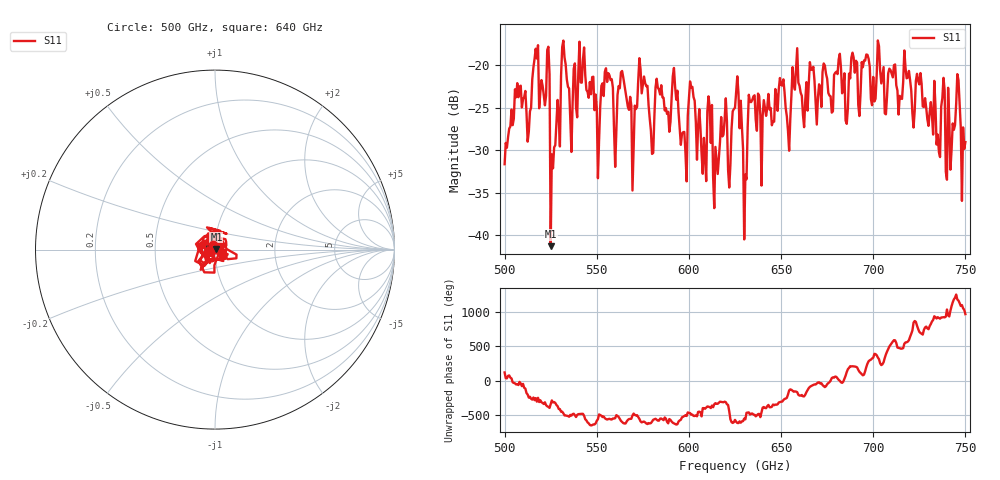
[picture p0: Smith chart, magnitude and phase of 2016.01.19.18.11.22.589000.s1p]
!Created with skrf (http://scikit-rf.org).
# GHz S RI R 50.0
!freq ReS11 ImS11
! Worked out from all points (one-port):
!   401 points, 500 GHz to 750 GHz, reference 50 ohm
!   lowest |S11| = -41.3 dB at 525 GHz (marker M1), VSWR 1.02, Z = 50.8 + j0.297 ohm
!   |S11| at or under -10 dB: start of sweep to end of sweep
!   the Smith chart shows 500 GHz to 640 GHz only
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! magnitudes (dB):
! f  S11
! 500 GHz  -31.6
! 506.9 GHz  -22.1
! 513.1 GHz  -27.8
! 516.9 GHz  -18.0
! 523.1 GHz  -18.2
! 525 GHz  -41.3
! 526.2 GHz  -32.1
! 531.2 GHz  -17.8
! 535.6 GHz  -26.3
! 541.9 GHz  -22.0
! 550 GHz  -25.0
! 562.5 GHz  -22.7
! 570 GHz  -29.5
! 574.4 GHz  -23.3
! 580 GHz  -30.4
! 593.8 GHz  -23.0
! 597.5 GHz  -27.8
! 601.9 GHz  -22.5
! 608.1 GHz  -28.5
! 611.2 GHz  -24.9
! 614.4 GHz  -29.6
! 625 GHz  -25.0
! 630.6 GHz  -32.9
! 633.8 GHz  -24.3
! 656.2 GHz  -20.2
! 687.5 GHz  -21.5
! 718.8 GHz  -21.4
! 750 GHz  -29.0
